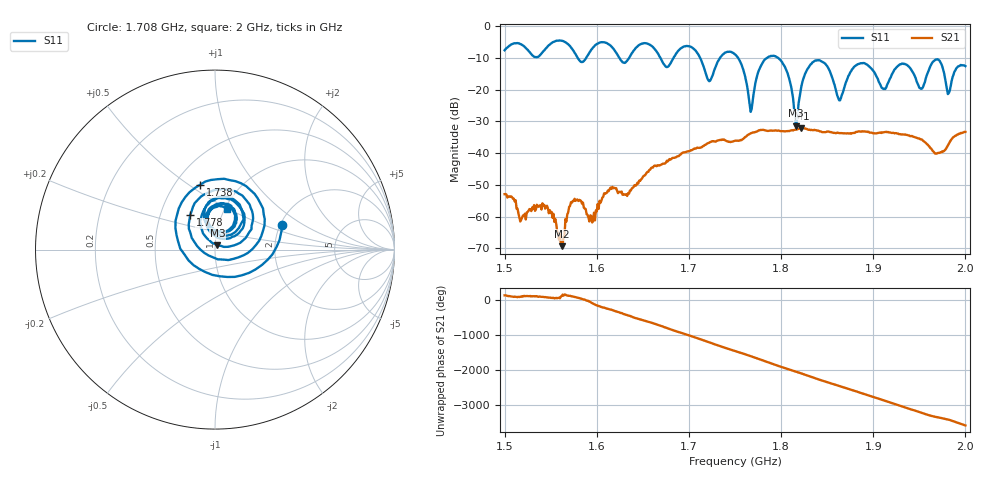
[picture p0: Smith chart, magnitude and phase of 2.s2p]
! NanoVNA-App by SYSJOINT et al v1.1.209 (+OD18)
! Date: 2026-01-21 14:16:43
! Start: 1,5GHz Stop: 2GHz Points: 501
! S-Parameter data: F S11 S21 S12 S22
# Hz S RI R 50
!  Frequency  S11_Real  S11_Imag  S21_Real  S21_Imag  S12_Real  S12_Imag  S22_Real  S22_Imag
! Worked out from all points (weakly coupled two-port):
!   501 points, 1.5 GHz to 2 GHz, reference 50 ohm
!   highest |S21| = -32.07 dB at 1.822 GHz (marker M1); lowest = -69.4 dB at 1.562 GHz (marker M2)
!   lowest |S11| = -31.3 dB at 1.816 GHz (marker M3), VSWR 1.06, Z = 51.3 + j2.43 ohm
!   |S11| at or under -10 dB: 1.712 GHz to 1.734 GHz (21.42 MHz wide, 1.24 % of centre); 1.753 GHz to 1.785 GHz (31.08 MHz wide, 1.76 % of centre); 1.797 GHz to end of sweep (the widest 3 of 6)
!   S12 and S22 are empty: the file has one direction only
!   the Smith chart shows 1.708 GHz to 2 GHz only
!   S11 on the Smith chart (normalised r, x): 1.708 GHz: 2.06, +0.67; 1.738 GHz: 0.66, +0.56; 1.778 GHz: 0.71, +0.29; 2 GHz: 1.02, +0.49
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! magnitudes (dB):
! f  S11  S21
! 1.5 GHz  -7.5  -52.9
! 1.545 GHz  -6.9  -56.9
! 1.562 GHz  -4.6  -69.4
! 1.584 GHz  -11.3  -56.0
! 1.667 GHz  -8.9  -43.8
! 1.708 GHz  -8.0  -38.5
! 1.722 GHz  -17.3  -36.7
! 1.738 GHz  -8.6  -35.7
! 1.75 GHz  -8.8  -36.1
! 1.767 GHz  -27.0  -33.8
! 1.778 GHz  -12.5  -32.7
! 1.801 GHz  -11.3  -33.1
! 1.816 GHz  -31.3  -32.6
! 1.822 GHz  -19.0  -32.1
! 1.834 GHz  -11.4  -32.8
! 1.863 GHz  -23.3  -33.7
! 1.885 GHz  -11.8  -33.2
! 1.917 GHz  -17.3  -33.4
! 1.952 GHz  -19.7  -35.6
! 1.97 GHz  -10.4  -40.0
! 1.982 GHz  -21.1  -37.0
! 2 GHz  -12.5  -33.3
